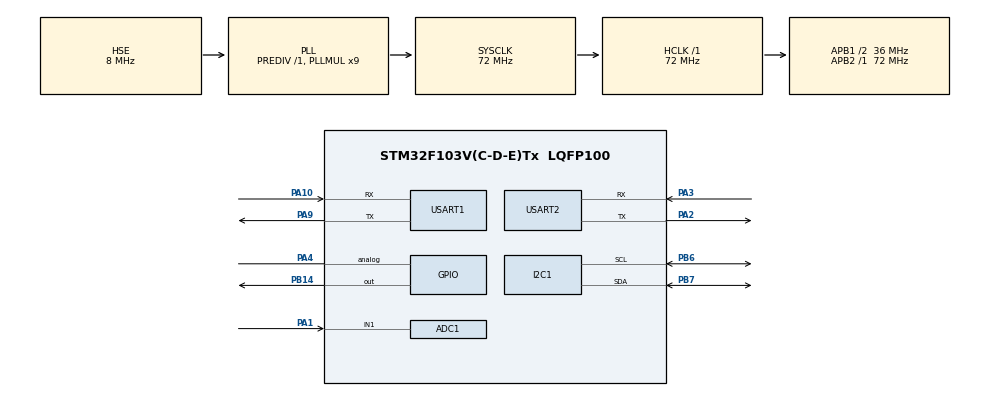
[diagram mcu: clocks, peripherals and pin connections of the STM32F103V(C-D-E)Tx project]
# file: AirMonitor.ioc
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ADC1.Channel-3\#ChannelRegularConversion=ADC_CHANNEL_1
ADC1.NbrOfConversionFlag=1
ADC1.Rank-3\#ChannelRegularConversion=1
ADC1.SamplingTime-3\#ChannelRegularConversion=ADC_SAMPLETIME_1CYCLE_5
ADC1.master=1
Dma.Request0=USART2_RX
Dma.Request1=USART1_RX
Dma.USART1_RX.1.Direction=DMA_PERIPH_TO_MEMORY
Dma.USART1_RX.1.Instance=DMA1_Channel5
Dma.USART1_RX.1.MemDataAlignment=DMA_MDATAALIGN_BYTE
Dma.USART1_RX.1.MemInc=DMA_MINC_ENABLE
Dma.USART1_RX.1.Mode=DMA_NORMAL
Dma.USART1_RX.1.PeriphDataAlignment=DMA_PDATAALIGN_BYTE
Dma.USART1_RX.1.PeriphInc=DMA_PINC_DISABLE
Dma.USART1_RX.1.Priority=DMA_PRIORITY_LOW
Dma.USART2_RX.0.Direction=DMA_PERIPH_TO_MEMORY
Dma.USART2_RX.0.Instance=DMA1_Channel6
Dma.USART2_RX.0.MemDataAlignment=DMA_MDATAALIGN_BYTE
Dma.USART2_RX.0.MemInc=DMA_MINC_ENABLE
Dma.USART2_RX.0.Mode=DMA_NORMAL
Dma.USART2_RX.0.PeriphDataAlignment=DMA_PDATAALIGN_BYTE
Dma.USART2_RX.0.PeriphInc=DMA_PINC_DISABLE
Dma.USART2_RX.0.Priority=DMA_PRIORITY_LOW
Mcu.Family=STM32F1
Mcu.Name=STM32F103V(C-D-E)Tx
Mcu.Package=LQFP100
NVIC.DMA1_Channel5_IRQn=true\:0\:0\:false\:false\:true\:false\:true
NVIC.DMA1_Channel6_IRQn=true\:0\:0\:false\:false\:true\:false\:true
NVIC.PriorityGroup=NVIC_PRIORITYGROUP_4
OSC_IN.Mode=HSE-External-Oscillator
OSC_IN.Signal=RCC_OSC_IN
OSC_OUT.Mode=HSE-External-Oscillator
OSC_OUT.Signal=RCC_OSC_OUT
PA0-WKUP.Mode=SYS_WakeUp0
PA0-WKUP.Signal=SYS_WKUP
PA1.Signal=ADCx_IN1
PA10.Mode=Asynchronous
PA10.Signal=USART1_RX
PA13.Mode=Serial_Wire
PA13.Signal=SYS_JTMS-SWDIO
PA14.Mode=Serial_Wire
PA14.Signal=SYS_JTCK-SWCLK
PA2.Mode=Asynchronous
PA2.Signal=USART2_TX
PA3.Mode=Asynchronous
PA3.Signal=USART2_RX
PA4.Signal=GPIO_Analog
PA9.Mode=Asynchronous
PA9.Signal=USART1_TX
PB14.GPIO_PuPd=GPIO_NOPULL
PB14.PinState=GPIO_PIN_SET
PB14.Signal=GPIO_Output
PB6.Mode=I2C
PB6.Signal=I2C1_SCL
PB7.Mode=I2C
PB7.Signal=I2C1_SDA
ProjectManager.HeapSize=0x200
ProjectManager.StackSize=0x400
ProjectManager.TargetToolchain=SW4STM32
RCC.ADCPresc=RCC_ADCPCLK2_DIV6
RCC.AHBFreq_Value=72000000
RCC.APB1CLKDivider=RCC_HCLK_DIV2
RCC.APB1Freq_Value=36000000
RCC.APB1TimFreq_Value=72000000
RCC.APB2Freq_Value=72000000
RCC.APB2TimFreq_Value=72000000
RCC.HCLKFreq_Value=72000000
RCC.PLLMUL=RCC_PLL_MUL9
RCC.PLLSourceVirtual=RCC_PLLSOURCE_HSE
RCC.SYSCLKFreq_VALUE=72000000
RCC.SYSCLKSource=RCC_SYSCLKSOURCE_PLLCLK
RCC.USBFreq_Value=72000000
SH.ADCx_IN1.0=ADC1_IN1,IN1
TIM4.AutoReloadPreload=TIM_AUTORELOAD_PRELOAD_ENABLE
TIM4.Period=1
TIM4.Prescaler=71
USART1.VirtualMode=VM_ASYNC
USART2.VirtualMode=VM_ASYNC
VP_TIM4_VS_ClockSourceINT.Mode=Internal
board=custom

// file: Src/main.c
/* USER CODE BEGIN Header */
/**
 ******************************************************************************
 * @file           : main.c
 * @brief          : Main program body
 ******************************************************************************
 * @attention
 *
 * <h2><center>&copy; Copyright (c) 2019 STMicroelectronics.
 * All rights reserved.</center></h2>
 *
 * This software component is licensed by ST under BSD 3-Clause license,
 * the "License"; You may not use this file except in compliance with the
 * License. You may obtain a copy of the License at:
 *                        opensource.org/licenses/BSD-3-Clause
 *
 ******************************************************************************
 */
/* USER CODE END Header */

#include "main.h"
#include "adc.h"
#include "dma.h"
#include "i2c.h"
#include "tim.h"
#include "usart.h"
#include "gpio.h"

/* USER CODE BEGIN Includes */
#include "stdio.h"
#include "string.h"
#include "stdlib.h"
/* USER CODE END Includes */

/* USER CODE BEGIN PTD */
/* printf重定向 */
//#ifdef __GNUC__
//#define PUTCHAR_PROTOTYPE int __io_putchar(int ch)
//#else
//#define PUTCHAR_PROTOTYPE int fputc(int ch, FILE *f)
//#endif /* __GNUC__ */
//PUTCHAR_PROTOTYPE {
//	HAL_UART_Transmit(&huart1, (uint8_t*) &ch, 1, 0x000F);
//	return ch;
//}
/* 屏幕发送间隔 */
#define DISPLAYTIME 0xFFFF
/* USER CODE END PTD */

/* USER CODE BEGIN PV */
int delayTime = 280;
int delayTime2 = 40;
float offTime = 9680;
/* USER CODE END PV */

void SystemClock_Config(void);
/* USER CODE BEGIN PFP */
void delay_us(uint16_t us);
void selfTest(void);
float readHCHO(void);
void displayHCHO(float HCHOVal);
float readTVOC(void);
void displayTVOC(float TVOCVal);
float readeCO2(void);
void displayeCO2(float eCO2Val);
float readDust(void);
void displayDust(float dustVal);
void enableScreenSampling(void);
void disableScreenSampling(void);
void changeFloatROM(unsigned int i, uint8_t *ROM);
unsigned char CheckSum(unsigned char *i, unsigned char ln);
/* USER CODE END PFP */

int main(void) {

	/* MCU Configuration--------------------------------------------------------*/

	/* Reset of all peripherals, Initializes the Flash interface and the Systick. */
	HAL_Init();

	/* Configure the system clock */
	SystemClock_Config();

	/* Initialize all configured peripherals */
	MX_GPIO_Init();
	MX_DMA_Init();
	MX_ADC1_Init();
	MX_I2C1_Init();
	MX_TIM4_Init();
	MX_USART1_UART_Init();
	MX_USART2_UART_Init();
	/* USER CODE BEGIN 2 */
	HAL_GPIO_WritePin(GPIOB, GPIO_PIN_14, GPIO_PIN_SET);
	/* 启动AD转换并使能DMA传输和中断 */
	HAL_ADCEx_Calibration_Start(&hadc1);
	disableScreenSampling();
	/* 开机第一次读取所有传感器 */
	displayHCHO(readHCHO());
	displayTVOC(readTVOC());
	displayeCO2(readeCO2());
	displayDust(readDust());
	enableScreenSampling();
	selfTest();
	/* USER CODE END 2 */

	/* Infinite loop */
	/* USER CODE BEGIN WHILE */
	while (1) {
		displayHCHO(readHCHO());
		displayTVOC(readTVOC());
		displayeCO2(readeCO2());
		displayDust(readDust());
		/* USER CODE END WHILE */

	}
}

void SystemClock_Config(void) {
	RCC_OscInitTypeDef RCC_OscInitStruct = { 0 };
	RCC_ClkInitTypeDef RCC_ClkInitStruct = { 0 };
	RCC_PeriphCLKInitTypeDef PeriphClkInit = { 0 };

	/** Initializes the CPU, AHB and APB busses clocks
	 */
	RCC_OscInitStruct.OscillatorType = RCC_OSCILLATORTYPE_HSE;
	RCC_OscInitStruct.HSEState = RCC_HSE_ON;
	RCC_OscInitStruct.HSEPredivValue = RCC_HSE_PREDIV_DIV1;
	RCC_OscInitStruct.HSIState = RCC_HSI_ON;
	RCC_OscInitStruct.PLL.PLLState = RCC_PLL_ON;
	RCC_OscInitStruct.PLL.PLLSource = RCC_PLLSOURCE_HSE;
	RCC_OscInitStruct.PLL.PLLMUL = RCC_PLL_MUL9;
	if (HAL_RCC_OscConfig(&RCC_OscInitStruct) != HAL_OK) {
		Error_Handler();
	}
	/** Initializes the CPU, AHB and APB busses clocks
	 */
	RCC_ClkInitStruct.ClockType = RCC_CLOCKTYPE_HCLK | RCC_CLOCKTYPE_SYSCLK
			| RCC_CLOCKTYPE_PCLK1 | RCC_CLOCKTYPE_PCLK2;
	RCC_ClkInitStruct.SYSCLKSource = RCC_SYSCLKSOURCE_PLLCLK;
	RCC_ClkInitStruct.AHBCLKDivider = RCC_SYSCLK_DIV1;
	RCC_ClkInitStruct.APB1CLKDivider = RCC_HCLK_DIV2;
	RCC_ClkInitStruct.APB2CLKDivider = RCC_HCLK_DIV1;

	if (HAL_RCC_ClockConfig(&RCC_ClkInitStruct, FLASH_LATENCY_2) != HAL_OK) {
		Error_Handler();
	}
	PeriphClkInit.PeriphClockSelection = RCC_PERIPHCLK_ADC;
	PeriphClkInit.AdcClockSelection = RCC_ADCPCLK2_DIV6;
	if (HAL_RCCEx_PeriphCLKConfig(&PeriphClkInit) != HAL_OK) {
		Error_Handler();
	}
}

/* USER CODE BEGIN 4 */
/**
 * @功能简介 : 延时N us
 * @入口参数 : 无
 * @出口参数 : 无
 * @历史版本 : V0.0.1 - Ethan - 2019/12/16
 */
void delay_us(uint16_t us) {
	uint16_t differ = 0xffff - us - 5;
	/*为防止因中断打断延时，造成计数错误.
	 如从0xfffE开始延时1us,但由于中断打断
	 （此时计数器仍在计数），本因计数至0xffff）
	 便停止计数，但由于错过计数值，并重载arr值，
	 导致实际延时(0xffff+1)us
	 */

	HAL_TIM_Base_Start(&htim4);

	__HAL_TIM_SET_COUNTER(&htim4, differ);

	while (differ < 0xffff - 5) {
		differ = __HAL_TIM_GET_COUNTER(&htim4);
	}

	HAL_TIM_Base_Stop(&htim4);
}
/**
 * @功能简介 : 开机自检，显示自检结果和进度条
 * @入口参数 : 无
 * @出口参数 : 无
 * @历史版本 : V0.0.1 - Ethan - 2019/12/16
 */
void selfTest(void) {
	/* 进度条显示 - 100% */
	/* EE B1 10 00 00 00 01 00 00 00 64 FF FC FF FF  */
	uint8_t sendPGCMD[15] = { 0xEE, 0xB1, 0x10, 0x00, 0x00, 0x00, 0x01, 0x00,
			0x00, 0x00, 100, 0xFF, 0xFC, 0xFF, 0xFF };
	/* 跳转主界面 */
	uint8_t sendTurnMainPageCMD[9] = { 0xEE, 0xB1, 0x00, 0x00, 0x01, 0xFF, 0xFC,
			0xFF, 0xFF };
	/* 数据记录控件添加记录 - 核心MCU启动中      ......   1% */
	/* EE B1 52 00 00 00 02 BA CB D0 C4 4D 43 55 C6 F4 B6 AF D6 D0 20 20 20 20 20 20 2E 2E 2E 2E 2E 2E 20 20 20 31 25 FF FC FF FF  */
	/* EE B1 57 00 00 00 02 00 00 BA CB D0 C4 4D 43 55 C6 F4 B6 AF D6 D0 20 20 20 20 20 20 2E 2E 2E 2E 2E 2E 20 20 20 31 25 FF FC FF FF */
	uint8_t sendAddRECCMD[41] = { 0xEE, 0xB1, 0x52, 0x00, 0x00, 0x00, 0x02,
			0xBA, 0xCB, 0xD0, 0xC4, 0x4D, 0x43, 0x55, 0xC6, 0xF4, 0xB6, 0xAF,
			0xD6, 0xD0, 0x20, 0x20, 0x20, 0x20, 0x20, 0x20, 0x2E, 0x2E, 0x2E,
			0x2E, 0x2E, 0x2E, 0x20, 0x20, 0x20, 0x31, 0x25, 0xFF, 0xFC, 0xFF,
			0xFF };
	/* 数据记录控件修改记录 - 核心MCU启动中      ......   1% */
	/* EE B1 57 00 00 00 02 00 00 BA CB D0 C4 4D 43 55 C6 F4 B6 AF D6 D0 20 20 20 20 20 20 2E 2E 2E 2E 2E 2E 20 20 20 31 25 FF FC FF FF */
	uint8_t sendEditRECCMD[43] = { 0xEE, 0xB1, 0x57, 0x00, 0x00, 0x00, 0x02,
			0x00, 0x00, 0xBA, 0xCB, 0xD0, 0xC4, 0x4D, 0x43, 0x55, 0xC6, 0xF4,
			0xB6, 0xAF, 0xD6, 0xD0, 0x20, 0x20, 0x20, 0x20, 0x20, 0x20, 0x2E,
			0x2E, 0x2E, 0x2E, 0x2E, 0x2E, 0x20, 0x20, 0x20, 0x31, 0x25, 0xFF,
			0xFC, 0xFF, 0xFF };
	uint8_t i = 0;
	/* 更新进度条 */
	sendPGCMD[10] = 0;
	HAL_UART_Transmit(&huart1, sendPGCMD, 15, DISPLAYTIME);
	HAL_UART_Transmit(&huart1, sendAddRECCMD, 41, DISPLAYTIME);
	HAL_Delay(20);
	for (i = 0; i < 99; i++) {
		/* 数据记录控件修改记录 - 核心MCU启动中      ......   1% */
		sendEditRECCMD[37] += 1;
		if (sendEditRECCMD[37] > 0x39) {
			sendEditRECCMD[37] = 0x30;
			sendEditRECCMD[36] = 0x31 + (i / 10);
			if (sendEditRECCMD[36] > 0x39) {
				sendEditRECCMD[36] = 0x30;
				sendEditRECCMD[35] = 0x31 + (i / 100);
				sendEditRECCMD[20] = 0xCD;
				sendEditRECCMD[21] = 0xEA;
				sendEditRECCMD[22] = 0xB3;
				sendEditRECCMD[23] = 0xC9;
			}
		}
		sendPGCMD[10] = i / 5;
		HAL_UART_Transmit(&huart1, sendPGCMD, 15, DISPLAYTIME);
		HAL_UART_Transmit(&huart1, sendEditRECCMD, 43, DISPLAYTIME);
		HAL_Delay(20);
	}
	/* 数据记录控件添加记录 - 甲醛传感器启动中      ......   1% */
	sendAddRECCMD[7] = 0xBC;
	sendAddRECCMD[8] = 0xD7;
	sendAddRECCMD[9] = 0xC8;
	sendAddRECCMD[10] = 0xA9;
	sendAddRECCMD[11] = 0xB4;
	sendAddRECCMD[12] = 0xAB;
	sendAddRECCMD[13] = 0xB8;
	sendAddRECCMD[14] = 0xD0;
	sendAddRECCMD[15] = 0xC6;
	sendAddRECCMD[16] = 0xF7;
	sendAddRECCMD[17] = 0xC6;
	sendAddRECCMD[18] = 0xF4;
	sendAddRECCMD[19] = 0xB6;
	sendAddRECCMD[20] = 0xAF;
	sendAddRECCMD[21] = 0xD6;
	sendAddRECCMD[22] = 0xD0;
	HAL_UART_Transmit(&huart1, sendAddRECCMD, 41, DISPLAYTIME);
	/* sendEditRECCMD[8] - 修改第几条记录 */
	sendEditRECCMD[8] = 0x01;
	sendEditRECCMD[9] = 0xBC;
	sendEditRECCMD[10] = 0xD7;
	sendEditRECCMD[11] = 0xC8;
	sendEditRECCMD[12] = 0xA9;
	sendEditRECCMD[13] = 0xB4;
	sendEditRECCMD[14] = 0xAB;
	sendEditRECCMD[15] = 0xB8;
	sendEditRECCMD[16] = 0xD0;
	sendEditRECCMD[17] = 0xC6;
	sendEditRECCMD[18] = 0xF7;
	sendEditRECCMD[19] = 0xC6;
	sendEditRECCMD[20] = 0xF4;
	sendEditRECCMD[21] = 0xB6;
	sendEditRECCMD[22] = 0xAF;
	sendEditRECCMD[23] = 0xD6;
	sendEditRECCMD[24] = 0xD0;
	sendEditRECCMD[35] = 0x20;
	sendEditRECCMD[36] = 0x20;
	sendEditRECCMD[37] = 0x31;

	for (i = 0; i < 99; i++) {
		/* 数据记录控件修改记录 - 甲醛传感器启动中      ......   1% */
		sendEditRECCMD[37] += 1;
		if (sendEditRECCMD[37] > 0x39) {
			sendEditRECCMD[37] = 0x30;
			sendEditRECCMD[36] = 0x31 + (i / 10);
			if (sendEditRECCMD[36] > 0x39) {
				sendEditRECCMD[36] = 0x30;
				sendEditRECCMD[35] = 0x31 + (i / 100);
				sendEditRECCMD[23] = 0xCD;
				sendEditRECCMD[24] = 0xEA;
				sendEditRECCMD[25] = 0xB3;
				sendEditRECCMD[26] = 0xC9;
			}
		}
		sendPGCMD[10] = 20 + i / 5;
		HAL_UART_Transmit(&huart1, sendPGCMD, 15, DISPLAYTIME);
		HAL_UART_Transmit(&huart1, sendEditRECCMD, 43, DISPLAYTIME);
		HAL_Delay(20);
	}
	/* 数据记录控件添加记录 - TVOC传感器启动中      ......   1% */
	sendAddRECCMD[7] = 0x54;
	sendAddRECCMD[8] = 0x56;
	sendAddRECCMD[9] = 0x4F;
	sendAddRECCMD[10] = 0x43;
	sendAddRECCMD[11] = 0xB4;
	sendAddRECCMD[12] = 0xAB;
	sendAddRECCMD[13] = 0xB8;
	sendAddRECCMD[14] = 0xD0;
	sendAddRECCMD[15] = 0xC6;
	sendAddRECCMD[16] = 0xF7;
	sendAddRECCMD[17] = 0xC6;
	sendAddRECCMD[18] = 0xF4;
	sendAddRECCMD[19] = 0xB6;
	sendAddRECCMD[20] = 0xAF;
	sendAddRECCMD[21] = 0xD6;
	sendAddRECCMD[22] = 0xD0;
	sendEditRECCMD[25] = 0x20;
	sendEditRECCMD[26] = 0x20;
	HAL_UART_Transmit(&huart1, sendAddRECCMD, 41, DISPLAYTIME);
	/* sendEditRECCMD[8] - 修改第几条记录 */
	sendEditRECCMD[8] = 0x02;
	sendEditRECCMD[9] = 0x54;
	sendEditRECCMD[10] = 0x56;
	sendEditRECCMD[11] = 0x4F;
	sendEditRECCMD[12] = 0x43;
	sendEditRECCMD[13] = 0xB4;
	sendEditRECCMD[14] = 0xAB;
	sendEditRECCMD[15] = 0xB8;
	sendEditRECCMD[16] = 0xD0;
	sendEditRECCMD[17] = 0xC6;
	sendEditRECCMD[18] = 0xF7;
	sendEditRECCMD[19] = 0xC6;
	sendEditRECCMD[20] = 0xF4;
	sendEditRECCMD[21] = 0xB6;
	sendEditRECCMD[22] = 0xAF;
	sendEditRECCMD[23] = 0xD6;
	sendEditRECCMD[24] = 0xD0;
	sendEditRECCMD[25] = 0x20;
	sendEditRECCMD[26] = 0x20;
	sendEditRECCMD[35] = 0x20;
	sendEditRECCMD[36] = 0x20;
	sendEditRECCMD[37] = 0x31;

	for (i = 0; i < 99; i++) {
		/* 数据记录控件修改记录 - TVOC传感器启动中      ......   1% */
		sendEditRECCMD[37] += 1;
		if (sendEditRECCMD[37] > 0x39) {
			sendEditRECCMD[37] = 0x30;
			sendEditRECCMD[36] = 0x31 + (i / 10);
			if (sendEditRECCMD[36] > 0x39) {
				sendEditRECCMD[36] = 0x30;
				sendEditRECCMD[35] = 0x31 + (i / 100);
				sendEditRECCMD[23] = 0xCD;
				sendEditRECCMD[24] = 0xEA;
				sendEditRECCMD[25] = 0xB3;
				sendEditRECCMD[26] = 0xC9;
			}
		}
		sendPGCMD[10] = 40 + i / 5;
		HAL_UART_Transmit(&huart1, sendPGCMD, 15, DISPLAYTIME);
		HAL_UART_Transmit(&huart1, sendEditRECCMD, 43, DISPLAYTIME);
		HAL_Delay(20);
	}
	/* 数据记录控件添加记录 - eCO2传感器启动中      ......   1% */
	sendAddRECCMD[7] = 0x65;
	sendAddRECCMD[8] = 0x43;
	sendAddRECCMD[9] = 0x4F;
	sendAddRECCMD[10] = 0x32;
	sendAddRECCMD[11] = 0xB4;
	sendAddRECCMD[12] = 0xAB;
	sendAddRECCMD[13] = 0xB8;
	sendAddRECCMD[14] = 0xD0;
	sendAddRECCMD[15] = 0xC6;
	sendAddRECCMD[16] = 0xF7;
	sendAddRECCMD[17] = 0xC6;
	sendAddRECCMD[18] = 0xF4;
	sendAddRECCMD[19] = 0xB6;
	sendAddRECCMD[20] = 0xAF;
	sendAddRECCMD[21] = 0xD6;
	sendAddRECCMD[22] = 0xD0;
	sendEditRECCMD[25] = 0x20;
	sendEditRECCMD[26] = 0x20;
	HAL_UART_Transmit(&huart1, sendAddRECCMD, 41, DISPLAYTIME);
	/* sendEditRECCMD[8] - 修改第几条记录 */
	sendEditRECCMD[8] = 0x03;
	sendEditRECCMD[9] = 0x65;
	sendEditRECCMD[10] = 0x43;
	sendEditRECCMD[11] = 0x4F;
	sendEditRECCMD[12] = 0x32;
	sendEditRECCMD[13] = 0xB4;
	sendEditRECCMD[14] = 0xAB;
	sendEditRECCMD[15] = 0xB8;
	sendEditRECCMD[16] = 0xD0;
	sendEditRECCMD[17] = 0xC6;
	sendEditRECCMD[18] = 0xF7;
	sendEditRECCMD[19] = 0xC6;
	sendEditRECCMD[20] = 0xF4;
	sendEditRECCMD[21] = 0xB6;
	sendEditRECCMD[22] = 0xAF;
	sendEditRECCMD[23] = 0xD6;
	sendEditRECCMD[24] = 0xD0;
	sendEditRECCMD[25] = 0x20;
	sendEditRECCMD[26] = 0x20;
	sendEditRECCMD[35] = 0x20;
	sendEditRECCMD[36] = 0x20;
	sendEditRECCMD[37] = 0x31;

	for (i = 0; i < 99; i++) {
		/* 数据记录控件修改记录 - eCO2传感器启动中      ......   1% */
		sendEditRECCMD[37] += 1;
		if (sendEditRECCMD[37] > 0x39) {
			sendEditRECCMD[37] = 0x30;
			sendEditRECCMD[36] = 0x31 + (i / 10);
			if (sendEditRECCMD[36] > 0x39) {
				sendEditRECCMD[36] = 0x30;
				sendEditRECCMD[35] = 0x31 + (i / 100);
				sendEditRECCMD[23] = 0xCD;
				sendEditRECCMD[24] = 0xEA;
				sendEditRECCMD[25] = 0xB3;
				sendEditRECCMD[26] = 0xC9;
			}
		}
		sendPGCMD[10] = 60 + i / 5;
		HAL_UART_Transmit(&huart1, sendPGCMD, 15, DISPLAYTIME);
		HAL_UART_Transmit(&huart1, sendEditRECCMD, 43, DISPLAYTIME);
		HAL_Delay(20);
	}
	/* 数据记录控件添加记录 - PM2.5传感器启动中      ......   1% */
	sendAddRECCMD[7] = 0x50;
	sendAddRECCMD[8] = 0x4D;
	sendAddRECCMD[9] = 0x32;
	sendAddRECCMD[10] = 0x2E;
	sendAddRECCMD[11] = 0x35;
	sendAddRECCMD[12] = 0xB4;
	sendAddRECCMD[13] = 0xAB;
	sendAddRECCMD[14] = 0xB8;
	sendAddRECCMD[15] = 0xD0;
	sendAddRECCMD[16] = 0xC6;
	sendAddRECCMD[17] = 0xF7;
	sendAddRECCMD[18] = 0xC6;
	sendAddRECCMD[19] = 0xF4;
	sendAddRECCMD[20] = 0xB6;
	sendAddRECCMD[21] = 0xAF;
	sendAddRECCMD[22] = 0xD6;
	sendAddRECCMD[23] = 0xD0;
	sendEditRECCMD[25] = 0x20;
	sendEditRECCMD[26] = 0x20;
	HAL_UART_Transmit(&huart1, sendAddRECCMD, 41, DISPLAYTIME);
	/* sendEditRECCMD[8] - 修改第几条记录 */
	sendEditRECCMD[8] = 0x04;
	sendEditRECCMD[9] = 0x50;
	sendEditRECCMD[10] = 0x4D;
	sendEditRECCMD[11] = 0x32;
	sendEditRECCMD[12] = 0x2E;
	sendEditRECCMD[13] = 0x35;
	sendEditRECCMD[14] = 0xB4;
	sendEditRECCMD[15] = 0xAB;
	sendEditRECCMD[16] = 0xB8;
	sendEditRECCMD[17] = 0xD0;
	sendEditRECCMD[18] = 0xC6;
	sendEditRECCMD[19] = 0xF7;
	sendEditRECCMD[20] = 0xC6;
	sendEditRECCMD[21] = 0xF4;
	sendEditRECCMD[22] = 0xB6;
	sendEditRECCMD[23] = 0xAF;
	sendEditRECCMD[24] = 0xD6;
	sendEditRECCMD[25] = 0xD0;
	sendEditRECCMD[26] = 0x20;
	sendEditRECCMD[35] = 0x20;
	sendEditRECCMD[36] = 0x20;
	sendEditRECCMD[37] = 0x31;

	for (i = 0; i < 99; i++) {
		/* 数据记录控件修改记录 - PM2.5传感器启动中      ......   1% */
		sendEditRECCMD[37] += 1;
		if (sendEditRECCMD[37] > 0x39) {
			sendEditRECCMD[37] = 0x30;
			sendEditRECCMD[36] = 0x31 + (i / 10);
			if (sendEditRECCMD[36] > 0x39) {
				sendEditRECCMD[36] = 0x30;
				sendEditRECCMD[35] = 0x31 + (i / 100);
				sendEditRECCMD[24] = 0xCD;
				sendEditRECCMD[25] = 0xEA;
				sendEditRECCMD[26] = 0xB3;
				sendEditRECCMD[27] = 0xC9;
			}
		}
		sendPGCMD[10] = 80 + i / 5;
		HAL_UART_Transmit(&huart1, sendPGCMD, 15, DISPLAYTIME);
		HAL_UART_Transmit(&huart1, sendEditRECCMD, 43, DISPLAYTIME);
		HAL_Delay(20);
	}
	sendPGCMD[10] = 100;
	HAL_UART_Transmit(&huart1, sendPGCMD, 15, DISPLAYTIME);
	HAL_Delay(500);
	HAL_UART_Transmit(&huart1, sendTurnMainPageCMD, 9, DISPLAYTIME);
}

/**
 * @功能简介 : 读取甲醛传感器 WS-Z-K 量程：0-2ppm | 分辨率：0.001ppm | ppb=1/1000ppm
 * @入口参数 : 无
 * @出口参数 : float型 ppm
 * @历史版本 : V0.0.1 - Ethan - 2019/12/16
 */
float readHCHO(void) {
	uint32_t dustAD = 0;
	float HCHOVal = 0;
	HAL_GPIO_WritePin(GPIOB, GPIO_PIN_14, GPIO_PIN_RESET);
	delay_us(delayTime);
	HAL_ADC_Start(&hadc1);

	delay_us(delayTime2);
	dustAD = HAL_ADC_GetValue(&hadc1);
	HAL_ADC_Stop(&hadc1);
	HAL_GPIO_WritePin(GPIOB, GPIO_PIN_14, GPIO_PIN_SET);
	delay_us(offTime);
	HCHOVal = 0.17 * dustAD * 3300 / 4095 - 100;
	if (HCHOVal > 2) {
		HCHOVal = 2;
	}
	if (HCHOVal < 0) {
		HCHOVal = 0;
	}
	return HCHOVal;
}
/**
 * @功能简介 : 显示甲醛
 * @入口参数 : 无
 * @出口参数 : 无
 * @历史版本 : V0.0.1 - Ethan - 2019/12/16
 */
void displayHCHO(float HCHOVal) {
	/* 画面1-历史控件5-通道1-float型 */
	/* EE B1 60 00 01 00 0C 41 20 00 00 FF FC FF FF */
	uint8_t sendHistoryCMD[15] = { 0xEE, 0xB1, 0x60, 0x00, 0x01, 0x00, 0x05,
			0x41, 0x20, 0x00, 0x00, 0xFF, 0xFC, 0xFF, 0xFF };
	/* 画面1-文本控件6 */
	/* EE B1 10 00 01 00 04 30 2E 30 30 FF FC FF FF */
	uint8_t sendTextCMD[16] = { 0xEE, 0xB1, 0x10, 0x00, 0x01, 0x00, 0x06, 0x30,
			0x2E, 0x30, 0x30, 0x30, 0xFF, 0xFC, 0xFF, 0xFF };
	sendTextCMD[7] = HCHOVal;
	sendTextCMD[9] = (HCHOVal - sendTextCMD[7]) * 10;
	sendTextCMD[10] = (HCHOVal - sendTextCMD[7] - sendTextCMD[9] / 10) * 100;
	sendTextCMD[11] = (HCHOVal - sendTextCMD[7] - sendTextCMD[9] / 10
			- sendTextCMD[10] / 100) * 1000 + 0x30;
	sendTextCMD[10] += 0x30;
	sendTextCMD[9] += 0x30;
	sendTextCMD[7] += 0x30;
	HAL_UART_Transmit(&huart1, sendTextCMD, 16, DISPLAYTIME);
	memcpy((&sendHistoryCMD[7]), &HCHOVal, 4);
	changeFloatROM(7, sendHistoryCMD);
	HAL_UART_Transmit(&huart1, sendHistoryCMD, 15, DISPLAYTIME);
}

/**
 * @功能简介 : 读取TVOC传感器 CCS811 量程TVOC： 0-1000ppb | 分辨率：1ppb
 * @入口参数 : 无
 * @出口参数 : float型 ppm
 * @历史版本 : V0.0.1 - Ethan - 2019/12/16
 */
float readTVOC(void) {
	uint32_t dustAD = 0;
	float TVOCVal = 0;
	HAL_GPIO_WritePin(GPIOB, GPIO_PIN_14, GPIO_PIN_RESET);
	delay_us(delayTime);
	HAL_ADC_Start(&hadc1);

	delay_us(delayTime2);
	dustAD = HAL_ADC_GetValue(&hadc1);
	HAL_ADC_Stop(&hadc1);
	HAL_GPIO_WritePin(GPIOB, GPIO_PIN_14, GPIO_PIN_SET);
	delay_us(offTime);
	TVOCVal = 0.17 * dustAD * 3300 / 4095 - 100;
	if (TVOCVal > 1000) {
		TVOCVal = 1000;
	}
	if (TVOCVal < 0) {
		TVOCVal = 0;
	}
	return TVOCVal;
}
/**
 * @功能简介 : 显示TVOC
 * @入口参数 : 无
 * @出口参数 : 无
 * @历史版本 : V0.0.1 - Ethan - 2019/12/16
 */
void displayTVOC(float TVOCVal) {
	/* 画面1-历史控件22-通道1-float型 */
	/* EE B1 60 00 01 00 0C 41 20 00 00 FF FC FF FF */
	uint8_t sendHistoryCMD[15] = { 0xEE, 0xB1, 0x60, 0x00, 0x01, 0x00, 22, 0x41,
			0x20, 0x00, 0x00, 0xFF, 0xFC, 0xFF, 0xFF };
	/* 画面1-文本控件24 */
	/* EE B1 10 00 01 00 04 30 30 30 30 FF FC FF FF */
	uint8_t sendTextCMD[15] = { 0xEE, 0xB1, 0x10, 0x00, 0x01, 0x00, 24, 0x30,
			0x30, 0x30, 0x30, 0xFF, 0xFC, 0xFF, 0xFF };
	uint8_t i = 0;
	sendTextCMD[7] = TVOCVal / 1000;
	sendTextCMD[8] = (TVOCVal - sendTextCMD[7] * 1000) / 100;
	sendTextCMD[9] = (TVOCVal - sendTextCMD[7] * 1000 - sendTextCMD[8] * 100)
			/ 10;
	sendTextCMD[10] = TVOCVal - sendTextCMD[7] * 1000 - sendTextCMD[8] * 100
			- sendTextCMD[9] * 10 + 0x30;
	sendTextCMD[9] += 0x30;
	sendTextCMD[8] += 0x30;
	sendTextCMD[7] += 0x30;
	for (i = 0; i < 3; i++) {
		if (sendTextCMD[7] == 0x30) {
			sendTextCMD[7] = sendTextCMD[8];
			sendTextCMD[8] = sendTextCMD[9];
			sendTextCMD[9] = sendTextCMD[10];
			sendTextCMD[10] = 0x20;
		}
	}
	HAL_UART_Transmit(&huart1, sendTextCMD, 15, DISPLAYTIME);
	memcpy((&sendHistoryCMD[7]), &TVOCVal, 4);
	changeFloatROM(7, sendHistoryCMD);
	HAL_UART_Transmit(&huart1, sendHistoryCMD, 15, DISPLAYTIME);
}
/**
 * @功能简介 : 读取eCO2传感器 CCS811 量程eCO2： 400-5000ppm | 分辨率：1ppm
 * @入口参数 : 无
 * @出口参数 : float型 ppm
 * @历史版本 : V0.0.1 - Ethan - 2019/12/16
 */
float readeCO2(void) {
	uint32_t dustAD = 0;
	float eCO2Val = 0;
	HAL_GPIO_WritePin(GPIOB, GPIO_PIN_14, GPIO_PIN_RESET);
	delay_us(delayTime);
	HAL_ADC_Start(&hadc1);

	delay_us(delayTime2);
	dustAD = HAL_ADC_GetValue(&hadc1);
	HAL_ADC_Stop(&hadc1);
	HAL_GPIO_WritePin(GPIOB, GPIO_PIN_14, GPIO_PIN_SET);
	delay_us(offTime);
	eCO2Val = 0.17 * dustAD * 3300 / 4095 - 100;
	if (eCO2Val > 5000) {
		eCO2Val = 5000;
	}
	if (eCO2Val < 400) {
		eCO2Val = 400;
	}
	return eCO2Val;
}
/**
 * @功能简介 : 显示eCO2
 * @入口参数 : 无
 * @出口参数 : 无
 * @历史版本 : V0.0.1 - Ethan - 2019/12/16
 */
void displayeCO2(float eCO2Val) {
	/* 画面1-历史控件8-通道1-float型 */
	/* EE B1 60 00 01 00 0C 41 20 00 00 FF FC FF FF */
	uint8_t sendHistoryCMD[15] = { 0xEE, 0xB1, 0x60, 0x00, 0x01, 0x00, 8, 0x41,
			0x20, 0x00, 0x00, 0xFF, 0xFC, 0xFF, 0xFF };
	/* 画面1-文本控件20 */
	/* EE B1 10 00 01 00 04 30 30 30 30 FF FC FF FF */
	uint8_t sendTextCMD[15] = { 0xEE, 0xB1, 0x10, 0x00, 0x01, 0x00, 20, 0x30,
			0x30, 0x30, 0x30, 0xFF, 0xFC, 0xFF, 0xFF };
	uint8_t i = 0;
	sendTextCMD[7] = eCO2Val / 1000;
	sendTextCMD[8] = (eCO2Val - sendTextCMD[7] * 1000) / 100;
	sendTextCMD[9] = (eCO2Val - sendTextCMD[7] * 1000 - sendTextCMD[8] * 100)
			/ 10;
	sendTextCMD[10] = eCO2Val - sendTextCMD[7] * 1000 - sendTextCMD[8] * 100
			- sendTextCMD[9] * 10 + 0x30;
	sendTextCMD[9] += 0x30;
	sendTextCMD[8] += 0x30;
	sendTextCMD[7] += 0x30;
	for (i = 0; i < 3; i++) {
		if (sendTextCMD[7] == 0x30) {
			sendTextCMD[7] = sendTextCMD[8];
			sendTextCMD[8] = sendTextCMD[9];
			sendTextCMD[9] = sendTextCMD[10];
			sendTextCMD[10] = 0x20;
		}
	}
	HAL_UART_Transmit(&huart1, sendTextCMD, 15, DISPLAYTIME);
	memcpy((&sendHistoryCMD[7]), &eCO2Val, 4);
	changeFloatROM(7, sendHistoryCMD);
	HAL_UART_Transmit(&huart1, sendHistoryCMD, 15, DISPLAYTIME);
}
/**
 * @功能简介 : 读取PM2.5传感器 GP2Y1010AU 量程：0-500mg/m3
 * @入口参数 : 无
 * @出口参数 : float型 mg/m3
 * @历史版本 : V0.0.1 - Ethan - 2019/12/16
 */
float readDust(void) {
	uint32_t dustAD = 0;
	float DustVal = 0;
	HAL_GPIO_WritePin(GPIOB, GPIO_PIN_14, GPIO_PIN_RESET);
	delay_us(delayTime);
	HAL_ADC_Start(&hadc1);

	delay_us(delayTime2);
	dustAD = HAL_ADC_GetValue(&hadc1);
	HAL_ADC_Stop(&hadc1);
	HAL_GPIO_WritePin(GPIOB, GPIO_PIN_14, GPIO_PIN_SET);
	delay_us(offTime);
	DustVal = 0.17 * dustAD * 3300 / 4095 - 100;
	if (DustVal > 500) {
		DustVal = 500;
	}
	if (DustVal < 0) {
		DustVal = 0;
	}
	return DustVal;
}
/**
 * @功能简介 : 显示PM2.5
 * @入口参数 : 无
 * @出口参数 : 无
 * @历史版本 : V0.0.1 - Ethan - 2019/12/16
 */
void displayDust(float dustVal) {
	/* 画面1-历史控件12-通道1-float型 */
	/* EE B1 60 00 01 00 0C 41 20 00 00 FF FC FF FF */
	uint8_t sendHistoryCMD[15] = { 0xEE, 0xB1, 0x60, 0x00, 0x01, 0x00, 0x0C,
			0x41, 0x20, 0x00, 0x00, 0xFF, 0xFC, 0xFF, 0xFF };
	/* 画面1-文本控件4 */
	/* EE B1 10 00 01 00 04 30 30 30 FF FC FF FF */
	uint8_t sendTextCMD[15] = { 0xEE, 0xB1, 0x10, 0x00, 0x01, 0x00, 0x04, 0x30,
			0x30, 0x30, 0x30, 0xFF, 0xFC, 0xFF, 0xFF };
	uint8_t i = 0;
	sendTextCMD[7] = dustVal / 100;
	sendTextCMD[8] = (dustVal - sendTextCMD[7] * 100) / 10;
	sendTextCMD[9] = dustVal - sendTextCMD[7] * 100 - sendTextCMD[8] * 10
			+ 0x30;
	sendTextCMD[10] = 0x20;
	sendTextCMD[8] += 0x30;
	sendTextCMD[7] += 0x30;
	for (i = 0; i < 2; i++) {
		if (sendTextCMD[7] == 0x30) {
			sendTextCMD[7] = sendTextCMD[8];
			sendTextCMD[8] = sendTextCMD[9];
			sendTextCMD[9] = sendTextCMD[10];
			sendTextCMD[10] = 0x20;
		}
	}
	HAL_UART_Transmit(&huart1, sendTextCMD, 15, DISPLAYTIME);
	memcpy((&sendHistoryCMD[7]), &dustVal, 4);
	changeFloatROM(7, sendHistoryCMD);
	HAL_UART_Transmit(&huart1, sendHistoryCMD, 15, DISPLAYTIME);
}

/**
 * @功能简介 : 开启屏幕采样
 * @入口参数 : 无
 * @出口参数 : 无
 * @历史版本 : V0.0.1 - Ethan - 2019/12/16
 */
void enableScreenSampling(void) {
	/* EE B1 61 00 01 00 05 01 FF FC FF FF */
	uint8_t sendCMD[12] = { 0xEE, 0xB1, 0x61, 0x00, 0x01, 0x00, 0x05, 0x01,
			0xFF, 0xFC, 0xFF, 0xFF };
	HAL_UART_Transmit(&huart1, sendCMD, 12, DISPLAYTIME);
	sendCMD[6] = 22;
	HAL_UART_Transmit(&huart1, sendCMD, 12, DISPLAYTIME);
	sendCMD[6] = 8;
	HAL_UART_Transmit(&huart1, sendCMD, 12, DISPLAYTIME);
	sendCMD[6] = 12;
	HAL_UART_Transmit(&huart1, sendCMD, 12, DISPLAYTIME);
}

/**
 * @功能简介 : 关闭屏幕采样
 * @入口参数 : 无
 * @出口参数 : 无
 * @历史版本 : V0.0.1 - Ethan - 2019/12/16
 */
void disableScreenSampling(void) {
	/* EE B1 61 00 01 00 05 00 FF FC FF FF */
	uint8_t sendCMD[12] = { 0xEE, 0xB1, 0x61, 0x00, 0x01, 0x00, 0x05, 0x00,
			0xFF, 0xFC, 0xFF, 0xFF };
	HAL_UART_Transmit(&huart1, sendCMD, 12, DISPLAYTIME);
	sendCMD[6] = 22;
	HAL_UART_Transmit(&huart1, sendCMD, 12, DISPLAYTIME);
	sendCMD[6] = 8;
	HAL_UART_Transmit(&huart1, sendCMD, 12, DISPLAYTIME);
	sendCMD[6] = 12;
	HAL_UART_Transmit(&huart1, sendCMD, 12, DISPLAYTIME);
}
/**
 * @功能简介 : 对换浮点数在数组中的大小端
 * @入口参数 : 数组中的位置, 数组
 * @出口参数 : 无
 * @历史版本 : V0.0.1 - Ethan - 2019/12/16
 */
void changeFloatROM(unsigned int i, uint8_t *ROM) {
	char temp = 0;

	temp = ROM[i + 3];
	ROM[i + 3] = ROM[i + 0];
	ROM[i + 0] = temp;

	temp = ROM[i + 2];
	ROM[i + 2] = ROM[i + 1];
	ROM[i + 1] = temp;
}

/**
 * @功能简介 : 求和校验(取发送、接收协议的 1\2\3\4\5\6\7 的和取反+1) - 将组数的元素 1-倒数第二个元素相加后取反+1(元素个数必须大于 2)
 * @入口参数 : 数组 ,数组长度
 * @出口参数 : 无
 * @历史版本 : V0.0.1 - Ethan - 2019/12/16
 */
unsigned char CheckSum(unsigned char *i, unsigned char ln) {
	unsigned char j, tempq = 0;
	i += 1;
	for (j = 0; j < (ln - 2); j++) {
		tempq += *i;
		i++;
	}
	tempq = (~tempq) + 1;
	return (tempq);
}
/* USER CODE END 4 */

void Error_Handler(void) {
}

/************************ (C) COPYRIGHT STMicroelectronics *****END OF FILE****/
